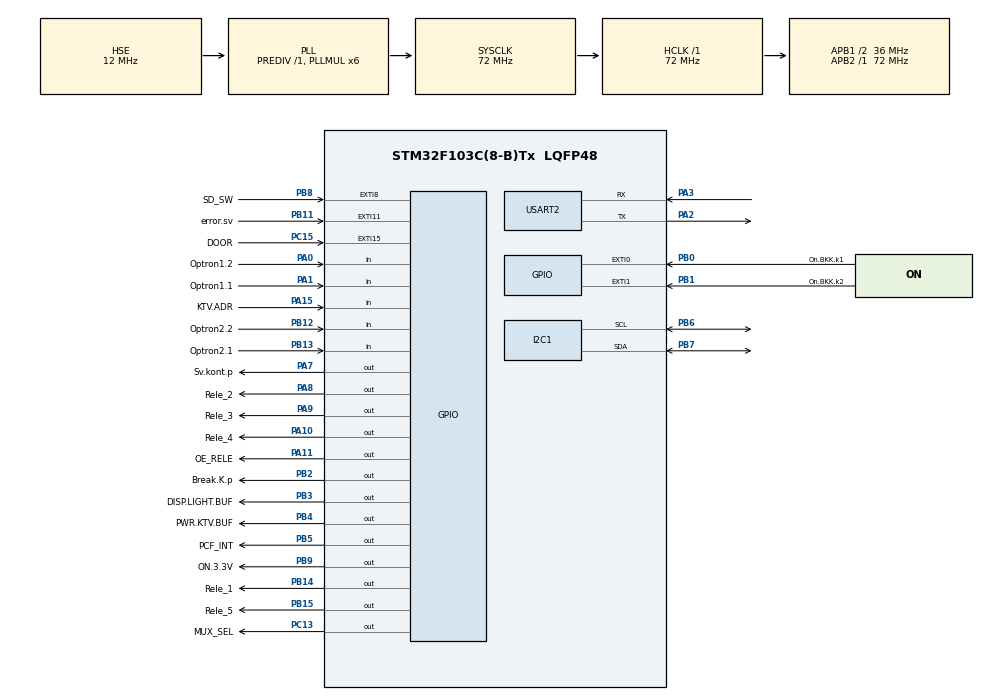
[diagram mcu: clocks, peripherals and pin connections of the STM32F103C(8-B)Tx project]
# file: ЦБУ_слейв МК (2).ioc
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Mcu.Family=STM32F1
Mcu.Name=STM32F103C(8-B)Tx
Mcu.Package=LQFP48
NVIC.EXTI0_IRQn=true\:0\:0\:false\:false\:true\:true\:true\:true
NVIC.EXTI15_10_IRQn=true\:0\:0\:false\:false\:true\:true\:true\:true
NVIC.EXTI1_IRQn=true\:0\:0\:false\:false\:true\:true\:true\:true
NVIC.EXTI9_5_IRQn=true\:0\:0\:false\:false\:true\:true\:true\:true
NVIC.I2C1_ER_IRQn=true\:0\:0\:false\:false\:true\:true\:true\:true
NVIC.I2C1_EV_IRQn=true\:0\:0\:false\:false\:true\:true\:true\:true
NVIC.PriorityGroup=NVIC_PRIORITYGROUP_4
NVIC.TIM1_UP_IRQn=true\:0\:0\:false\:false\:true\:true\:true\:true
NVIC.TIM2_IRQn=true\:0\:0\:false\:false\:true\:true\:true\:true
NVIC.USART2_IRQn=true\:0\:0\:false\:false\:true\:true\:true\:true
PA0-WKUP.GPIO_Label=Optron1.2
PA0-WKUP.GPIO_PuPd=GPIO_NOPULL
PA0-WKUP.Signal=GPIO_Input
PA1.GPIO_Label=Optron1.1
PA1.GPIO_PuPd=GPIO_NOPULL
PA1.Signal=GPIO_Input
PA10.GPIO_Label=Rele_4
PA10.GPIO_PuPd=GPIO_PULLDOWN
PA10.PinState=GPIO_PIN_SET
PA10.Signal=GPIO_Output
PA11.GPIO_Label=OE_RELE
PA11.GPIO_PuPd=GPIO_PULLUP
PA11.Signal=GPIO_Output
PA13.Mode=Serial_Wire
PA13.Signal=SYS_JTMS-SWDIO
PA14.Mode=Serial_Wire
PA14.Signal=SYS_JTCK-SWCLK
PA15.GPIO_Label=KTV.ADR
PA15.GPIO_PuPd=GPIO_NOPULL
PA15.Signal=GPIO_Input
PA2.Mode=Asynchronous
PA2.Signal=USART2_TX
PA3.Mode=Asynchronous
PA3.Signal=USART2_RX
PA7.GPIO_Label=Sv.kont.p
PA7.GPIO_PuPd=GPIO_PULLUP
PA7.Signal=GPIO_Output
PA8.GPIO_Label=Rele_2
PA8.GPIO_PuPd=GPIO_PULLDOWN
PA8.PinState=GPIO_PIN_SET
PA8.Signal=GPIO_Output
PA9.GPIO_Label=Rele_3
PA9.GPIO_PuPd=GPIO_PULLDOWN
PA9.PinState=GPIO_PIN_SET
PA9.Signal=GPIO_Output
PB0.GPIO_Label=On.BKK.k1
PB0.GPIO_ModeDefaultEXTI=GPIO_MODE_IT_RISING_FALLING
PB0.GPIO_PuPd=GPIO_NOPULL
PB0.Signal=GPXTI0
PB1.GPIO_Label=On.BKK.k2
PB1.GPIO_ModeDefaultEXTI=GPIO_MODE_IT_RISING_FALLING
PB1.GPIO_PuPd=GPIO_NOPULL
PB1.Signal=GPXTI1
PB11.GPIO_Label=error.sv
PB11.GPIO_ModeDefaultEXTI=GPIO_MODE_IT_RISING_FALLING
PB11.GPIO_PuPd=GPIO_NOPULL
PB11.Signal=GPXTI11
PB12.GPIO_Label=Optron2.2
PB12.GPIO_PuPd=GPIO_NOPULL
PB12.Signal=GPIO_Input
PB13.GPIO_Label=Optron2.1
PB13.GPIO_PuPd=GPIO_NOPULL
PB13.Signal=GPIO_Input
PB14.GPIO_Label=Rele_1
PB14.GPIO_PuPd=GPIO_PULLDOWN
PB14.PinState=GPIO_PIN_SET
PB14.Signal=GPIO_Output
PB15.GPIO_Label=Rele_5
PB15.GPIO_PuPd=GPIO_PULLDOWN
PB15.PinState=GPIO_PIN_SET
PB15.Signal=GPIO_Output
PB2.GPIO_Label=Break.K.p
PB2.GPIO_PuPd=GPIO_PULLUP
PB2.Signal=GPIO_Output
PB3.GPIO_Label=DISP.LIGHT.BUF
PB3.GPIO_PuPd=GPIO_PULLDOWN
PB3.PinState=GPIO_PIN_SET
PB3.Signal=GPIO_Output
PB4.GPIO_Label=PWR.KTV.BUF
PB4.GPIO_PuPd=GPIO_PULLDOWN
PB4.PinState=GPIO_PIN_SET
PB4.Signal=GPIO_Output
PB5.GPIO_Label=PCF_INT
PB5.Signal=GPIO_Output
PB6.Mode=I2C
PB6.Signal=I2C1_SCL
PB7.Mode=I2C
PB7.Signal=I2C1_SDA
PB8.GPIO_Label=SD_SW
PB8.GPIO_ModeDefaultEXTI=GPIO_MODE_IT_RISING_FALLING
PB8.Signal=GPXTI8
PB9.GPIO_Label=ON.3.3V
PB9.GPIO_PuPd=GPIO_PULLDOWN
PB9.PinState=GPIO_PIN_SET
PB9.Signal=GPIO_Output
PC13-TAMPER-RTC.GPIO_Label=MUX_SEL
PC13-TAMPER-RTC.GPIO_PuPd=GPIO_NOPULL
PC13-TAMPER-RTC.Signal=GPIO_Output
PC15-OSC32_OUT.GPIO_Label=DOOR
PC15-OSC32_OUT.GPIO_ModeDefaultEXTI=GPIO_MODE_IT_RISING_FALLING
PC15-OSC32_OUT.GPIO_PuPd=GPIO_NOPULL
PC15-OSC32_OUT.Signal=GPXTI15
PD0-OSC_IN.Mode=HSE-External-Oscillator
PD0-OSC_IN.Signal=RCC_OSC_IN
PD1-OSC_OUT.Mode=HSE-External-Oscillator
PD1-OSC_OUT.Signal=RCC_OSC_OUT
ProjectManager.HeapSize=0x200
ProjectManager.StackSize=0x400
ProjectManager.TargetToolchain=EWARM V8.32
RCC.AHBFreq_Value=72000000
RCC.APB1CLKDivider=RCC_HCLK_DIV2
RCC.APB1Freq_Value=36000000
RCC.APB1TimFreq_Value=72000000
RCC.APB2Freq_Value=72000000
RCC.APB2TimFreq_Value=72000000
RCC.HCLKFreq_Value=72000000
RCC.HSE_VALUE=12000000
RCC.PLLMUL=RCC_PLL_MUL6
RCC.PLLSourceVirtual=RCC_PLLSOURCE_HSE
RCC.SYSCLKFreq_VALUE=72000000
RCC.SYSCLKSource=RCC_SYSCLKSOURCE_PLLCLK
RCC.USBFreq_Value=72000000
TIM1.Period=999
TIM1.Prescaler=71
TIM2.Period=19
TIM2.Prescaler=7199
USART2.VirtualMode=VM_ASYNC
VP_TIM1_VS_ClockSourceINT.Mode=Internal
VP_TIM2_VS_ClockSourceINT.Mode=Internal
board=custom

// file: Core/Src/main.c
/* USER CODE BEGIN Header */
/**
  ******************************************************************************
  * @file           : main.c
  * @brief          : Main program body
  ******************************************************************************
  * @attention
  *
  * Copyright (c) 2026 STMicroelectronics.
  * All rights reserved.
  *
  * This software is licensed under terms that can be found in the LICENSE file
  * in the root directory of this software component.
  * If no LICENSE file comes with this software, it is provided AS-IS.
  *
  ******************************************************************************
  */
/* USER CODE END Header */
#include "main.h"

/* USER CODE BEGIN Includes */
#include "ktv.h"
#include "mbcrc.h"
#include <string.h>

/* USER CODE END Includes */

/* USER CODE BEGIN PD */
//#define I2C_EXPANDER16_ADDR 0x21U /* Адрес 16-портового расширителя (A0=1, A1=0, A2=0) */
//#define I2C_EXPANDER8_ADDR  0x20U /* Адрес 8-портового расширителя (A0=0, A1=0, A2=0) */

#define I2C_EXPANDER16_ADDR (0x21U << 1) /* Адрес 16-портового расширителя (A0=1, A1=0, A2=0) */
#define I2C_EXPANDER8_ADDR  (0x20U << 1)  /* Адрес 8-портового расширителя (A0=0, A1=0, A2=0) */

#define I2C_EXPANDER16_RX_SIZE 2U /* Два байта: p0..p7 и p8..p15 */
#define I2C_EXPANDER8_RX_SIZE  1U /* Один байт: p0..p7 */

extern const uint32_t __vector_table;   // в IAR/CMSIS часто так называется

/* USER CODE END PD */

I2C_HandleTypeDef hi2c1;

TIM_HandleTypeDef htim1;
TIM_HandleTypeDef htim2;

UART_HandleTypeDef huart2;

/* USER CODE BEGIN PV */

void VectorRelocateToAppFlash(void)
{
    __disable_irq();
    __DSB(); __ISB();
    SCB->VTOR = (uint32_t)&__vector_table;   // будет 0x08002000 по твоему ICF
    __DSB(); __ISB();
    __enable_irq();
}

typedef struct
{
  GPIO_TypeDef *port;
  uint16_t pin;
} ExpanderPinMap;

static const ExpanderPinMap expander16_map[16] =
{
  {OE_RELE_GPIO_Port, OE_RELE_Pin},             /* p0 = OE_RELE */
  {Rele_5_GPIO_Port, Rele_5_Pin},               /* p1 = RELE_5 */
  {PWR_KTV_BUF_GPIO_Port, PWR_KTV_BUF_Pin},     /* p2 = PWR_KTV */
  {NULL, 0U},                                   /* p3 = не используется */
  {NULL, 0U},                                   /* p4 = не используется */
  {Rele_4_GPIO_Port, Rele_4_Pin},               /* p5 = RELE_4 */
  {NULL, 0U},                                   /* p6 = не используется */
  {Rele_3_GPIO_Port, Rele_3_Pin},               /* p7 = RELE_3 */
  {NULL, 0U},                                   /* p8 = не используется */
  {SD_SW_GPIO_Port, SD_SW_Pin},                 /* p9 = SD_SW */
  {NULL, 0U},                                   /* p10 = не используется */
  {Rele_1_GPIO_Port, Rele_1_Pin},               /* p11 = RELE_1 */
  {NULL, 0U},                                   /* p12 = не используется */
  {Rele_2_GPIO_Port, Rele_2_Pin},               /* p13 = RELE_2 */
  {DISP_LIGHT_BUF_GPIO_Port, DISP_LIGHT_BUF_Pin}, /* p14 = DISP_LIGHT_EN */
  {NULL, 0U}                                    /* p15 = не используется */
};

static const ExpanderPinMap expander8_map[8] =
{
  {NULL, 0U},                                   /* p0 = не используется */
  {NULL, 0U},                                   /* p1 = не используется */
  {NULL, 0U},                                   /* p2 = не используется */
  {NULL, 0U},                                   /* p3 = не используется */
  {MUX_SEL_GPIO_Port, MUX_SEL_Pin},             /* p4 = MUX_SEL */
  {NULL, 0U},                                   /* p5 = не используется */
  {NULL, 0U},                                   /* p6 = не используется */
  {NULL, 0U}                                    /* p7 = не используется */
};

static uint8_t i2c_rx_buffer[I2C_EXPANDER16_RX_SIZE];
static uint8_t i2c_tx_buffer[I2C_EXPANDER16_RX_SIZE];
static uint16_t expander16_state = 0U;
static uint8_t expander8_state = 0U;
static uint8_t active_i2c_address = 0U;
static const uint16_t expander16_input_mask = (1U << 9); /* p9 = SD_SW (input) */
static GPIO_PinState sd_sw_last_state = GPIO_PIN_RESET;
static GPIO_PinState sd_sw_return_state = GPIO_PIN_RESET;
static GPIO_PinState pwr_ktv_last_state = GPIO_PIN_SET;
static uint8_t pcf_int_latched = 0U;
volatile GPIO_PinState door = GPIO_PIN_RESET;
volatile GPIO_PinState error_sv = GPIO_PIN_RESET;
volatile GPIO_PinState on_bkk_k1 = GPIO_PIN_RESET;
volatile GPIO_PinState on_bkk_k2 = GPIO_PIN_RESET;
volatile uint8_t direction1 = 0U;
volatile uint8_t direction2 = 0U;
volatile uint8_t bkk_k1_poll_required = 0U;
volatile uint8_t bkk_k2_poll_required = 0U;
volatile uint8_t modbus_cfg1 = 0U;
volatile uint8_t modbus_cfg2 = 0U;
volatile uint8_t modbus_cfg3 = 0U;
volatile uint8_t modbus_cfg4 = 0U;
volatile uint8_t modbus_cfg5 = 0U;
volatile uint8_t modbus_cfg6 = 0U;
volatile uint8_t modbus_cfg7 = 0U;
volatile uint8_t modbus_cfg8 = 0U;
volatile uint8_t modbus_exec_config = 0U;
volatile uint8_t modbus_on_3v3 = 0U;
volatile uint8_t modbus_break_k_p = 0U;
volatile uint8_t modbus_sv_kont_p = 0U;
volatile uint16_t modbus_write_register = 0U;

static inline void EXTI_DisableLine(uint16_t pinmask);
static inline void EXTI_EnableLine(uint16_t pinmask);
/* USER CODE END PV */

void SystemClock_Config(void);
static void MX_GPIO_Init(void);
static void MX_I2C1_Init(void);
static void MX_USART2_UART_Init(void);
static void MX_TIM2_Init(void);
static void MX_TIM1_Init(void);
/* USER CODE BEGIN PFP */

void OS_update(void);
void VectorRelocateToAppFlash(void);

/* USER CODE END PFP */

/* USER CODE BEGIN 0 */
static uint8_t active_rx_size = 0U;
static volatile uint32_t tim2_tick_count = 0U;
static uint8_t on_3v3_enabled = 0U;

#define MODBUS_SLAVE_ADDRESS 1U
#define MODBUS_MAX_REGISTERS (KTV_NUM_MAX + 1U)
#define MODBUS_RX_BUFFER_SIZE 30U
#define MODBUS_TX_BUFFER_SIZE 256U
#define MODBUS_FUNC_READ_HOLDING_REGISTERS 0x03U
#define MODBUS_FUNC_WRITE_SINGLE_REGISTER 0x06U
#define MODBUS_FUNC_UPDATE                0x2Bu
#define MODBUS_EXCEPTION_ILLEGAL_FUNCTION 0x01U
#define MODBUS_EXCEPTION_ILLEGAL_DATA_ADDRESS 0x02U
#define MODBUS_EXCEPTION_ILLEGAL_DATA_VALUE 0x03U

static uint8_t modbus_rx_buffer[MODBUS_RX_BUFFER_SIZE];
static uint8_t modbus_rx_frame[MODBUS_RX_BUFFER_SIZE];
static uint8_t modbus_tx_buffer[MODBUS_TX_BUFFER_SIZE];
static volatile uint16_t modbus_rx_frame_len = 0U;
static volatile uint8_t modbus_rx_ready = 0U;
static volatile uint8_t modbus_last_error = 0U;

#define FLASH_CFG_EMPTY_VALUE   0xFFFFU

#pragma location = ".flash_cfg"
__root const uint16_t flash_cfg_storage = FLASH_CFG_EMPTY_VALUE;

#define ON_3V3_ENABLE_DELAY_MS (10000U)
#define ON_3V3_ENABLE_DELAY_TICKS (ON_3V3_ENABLE_DELAY_MS / KTV_TICK_IN_MSEC)

/* Буфер/анализ оптронов: выбор 250 мс окна при частоте 1 кГц. */
#define OPTRON_SAMPLE_RATE_HZ 1000U
#define OPTRON_FRAME_MS 250U
#define OPTRON_EVAL_PERIOD_MS 1000U
#define OPTRON_FRAME_SAMPLES ((OPTRON_SAMPLE_RATE_HZ * OPTRON_FRAME_MS) / 1000U)
#define OPTRON_EVAL_TICKS ((OPTRON_SAMPLE_RATE_HZ * OPTRON_EVAL_PERIOD_MS) / 1000U)
#define OPTRON_NOISE_MIN_PERCENT 40U
#define OPTRON_NOISE_MAX_PERCENT 60U

typedef enum
{
  OPTRON_STATE_LOW = 0U,
  OPTRON_STATE_HIGH = 1U,
  OPTRON_STATE_NOISE = 2U
} OptronState;

/* Биты в выборке для четырёх оптронов. */
#define OPTRON_SAMPLE_1_1 (1U << 0)
#define OPTRON_SAMPLE_1_2 (1U << 1)
#define OPTRON_SAMPLE_2_1 (1U << 2)
#define OPTRON_SAMPLE_2_2 (1U << 3)

static volatile uint8_t optron_samples[OPTRON_FRAME_SAMPLES];
static volatile uint16_t optron_sample_index = 0U;
static volatile uint16_t optron_cycle_tick = 0U;
static volatile uint8_t optron_eval_pending = 0U;

/* Текущее состояние входов оптронов после фильтрации. */
volatile OptronState optron1_1_state = OPTRON_STATE_LOW;
volatile OptronState optron1_2_state = OPTRON_STATE_LOW;
volatile OptronState optron2_1_state = OPTRON_STATE_LOW;
volatile OptronState optron2_2_state = OPTRON_STATE_LOW;

volatile uint8_t kontur1_kz = 0U;
volatile uint8_t kontur1_diod = 0U;
volatile uint8_t kontur1_obryv = 0U;
volatile uint8_t kontur2_kz = 0U;
volatile uint8_t kontur2_diod = 0U;
volatile uint8_t kontur2_obryv = 0U;

volatile uint8_t KTV_poll_start = 0;
static uint8_t tim2_running = 0U;

/* Управление запуском/остановкой таймера опроса КТВ по флагу KTV_poll_start. */
static void UpdateKtvTimerState(void)
{
  if ((KTV_poll_start != 0U) && (tim2_running == 0U))
  {
    HAL_TIM_Base_Start_IT(&htim2);
    tim2_running = 1U;
  }
  else if ((KTV_poll_start == 0U) && (tim2_running != 0U))
  {
    HAL_TIM_Base_Stop_IT(&htim2);
    tim2_running = 0U;
  }
}

/* Чтение сохранённого конфигурационного слова из флеша. */
static uint16_t FlashConfig_Read(void)
{
  return *(const volatile uint16_t *)(APP_FLASH_CFG_START);
}

/* Обработка окна выборки оптронов и вычисление состояний контуров. */
static void Optron_ProcessFrame(void)
{
  uint8_t frame_copy[OPTRON_FRAME_SAMPLES];
  uint16_t ones_1_1 = 0U;
  uint16_t ones_1_2 = 0U;
  uint16_t ones_2_1 = 0U;
  uint16_t ones_2_2 = 0U;

  if (optron_eval_pending == 0U)
  {
    return;
  }

  /* отключаем TIM1. */
  __HAL_TIM_DISABLE_IT(&htim1, TIM_IT_UPDATE);
  /* Копируем буфер под защитой, чтобы не пересекаться с ISR. */
  for (uint16_t i = 0U; i < OPTRON_FRAME_SAMPLES; i++)
  {
    frame_copy[i] = optron_samples[i];
  }
  optron_eval_pending = 0U;
  __HAL_TIM_ENABLE_IT(&htim1, TIM_IT_UPDATE);

  /* Подсчёт количества единиц по каждому входу оптронов. */
  for (uint16_t i = 0U; i < OPTRON_FRAME_SAMPLES; i++)
  {
    uint8_t sample = frame_copy[i];
    if ((sample & OPTRON_SAMPLE_1_1) != 0U)
    {
      ones_1_1++;
    }
    if ((sample & OPTRON_SAMPLE_1_2) != 0U)
    {
      ones_1_2++;
    }
    if ((sample & OPTRON_SAMPLE_2_1) != 0U)
    {
      ones_2_1++;
    }
    if ((sample & OPTRON_SAMPLE_2_2) != 0U)
    {
      ones_2_2++;
    }
  }

  /* Классификация по заполнению: 40-60% = зашумленный меандр. */
  uint8_t percent_1_1 = (uint8_t)((ones_1_1 * 100U) / OPTRON_FRAME_SAMPLES);
  uint8_t percent_1_2 = (uint8_t)((ones_1_2 * 100U) / OPTRON_FRAME_SAMPLES);
  uint8_t percent_2_1 = (uint8_t)((ones_2_1 * 100U) / OPTRON_FRAME_SAMPLES);
  uint8_t percent_2_2 = (uint8_t)((ones_2_2 * 100U) / OPTRON_FRAME_SAMPLES);

  /* Преобразование процента заполнения в состояние (low/high/noise). */
  optron1_1_state = (percent_1_1 < OPTRON_NOISE_MIN_PERCENT) ? OPTRON_STATE_LOW :
                    (percent_1_1 > OPTRON_NOISE_MAX_PERCENT) ? OPTRON_STATE_HIGH :
                    OPTRON_STATE_NOISE;
  optron1_2_state = (percent_1_2 < OPTRON_NOISE_MIN_PERCENT) ? OPTRON_STATE_LOW :
                    (percent_1_2 > OPTRON_NOISE_MAX_PERCENT) ? OPTRON_STATE_HIGH :
                    OPTRON_STATE_NOISE;
  optron2_1_state = (percent_2_1 < OPTRON_NOISE_MIN_PERCENT) ? OPTRON_STATE_LOW :
                    (percent_2_1 > OPTRON_NOISE_MAX_PERCENT) ? OPTRON_STATE_HIGH :
                    OPTRON_STATE_NOISE;
  optron2_2_state = (percent_2_2 < OPTRON_NOISE_MIN_PERCENT) ? OPTRON_STATE_LOW :
                    (percent_2_2 > OPTRON_NOISE_MAX_PERCENT) ? OPTRON_STATE_HIGH :
                    OPTRON_STATE_NOISE;

  /* Таблица соответствий для контура 1 (диагностика). */
  uint8_t optron1_1_meander = (optron1_1_state == OPTRON_STATE_NOISE) ? 1U : 0U;
  uint8_t optron1_2_meander = (optron1_2_state == OPTRON_STATE_NOISE) ? 1U : 0U;
  uint8_t optron1_1_high = (optron1_1_state == OPTRON_STATE_HIGH) ? 1U : 0U;
  uint8_t optron1_2_high = (optron1_2_state == OPTRON_STATE_HIGH) ? 1U : 0U;
  uint8_t bkk_k1_high = (on_bkk_k1 == GPIO_PIN_SET) ? 1U : 0U;

  kontur1_kz = 0U;
  kontur1_diod = 0U;
  kontur1_obryv = 0U;

  if (bkk_k1_high == 1U)
  {
    if ((optron1_1_meander == 1U) && (optron1_2_meander == 1U))
    {
      kontur1_kz = 1U;
    }
    else if ((optron1_1_high == 1U) && (optron1_2_high == 1U))
    {
      kontur1_obryv = 1U;
    }
  }
  else
  {
    if (((optron1_1_meander == 1U) && (optron1_2_high == 1U)) ||
        ((optron1_1_high == 1U) && (optron1_2_meander == 1U)))
    {
      kontur1_diod = 1U;
    }
  }

  /* Таблица соответствий для контура 2 (диагностика). */
  uint8_t optron2_1_meander = (optron2_1_state == OPTRON_STATE_NOISE) ? 1U : 0U;
  uint8_t optron2_2_meander = (optron2_2_state == OPTRON_STATE_NOISE) ? 1U : 0U;
  uint8_t optron2_1_high = (optron2_1_state == OPTRON_STATE_HIGH) ? 1U : 0U;
  uint8_t optron2_2_high = (optron2_2_state == OPTRON_STATE_HIGH) ? 1U : 0U;
  uint8_t bkk_k2_high = (on_bkk_k2 == GPIO_PIN_SET) ? 1U : 0U;

  kontur2_kz = 0U;
  kontur2_diod = 0U;
  kontur2_obryv = 0U;

  if (bkk_k2_high == 1U)
  {
    if ((optron2_1_meander == 1U) && (optron2_2_meander == 1U))
    {
      kontur2_kz = 1U;
    }
    else if ((optron2_1_high == 1U) && (optron2_2_high == 1U))
    {
      kontur2_obryv = 1U;
    }
  }
  else
  {
    if (((optron2_1_meander == 1U) && (optron2_2_high == 1U)) ||
        ((optron2_1_high == 1U) && (optron2_2_meander == 1U)))
    {
      kontur2_diod = 1U;
    }
  }

}

/* Запись состояния в GPIO по карте экспандера. */
static void Expander_WritePin(const ExpanderPinMap *map, uint8_t index, GPIO_PinState state)
{
  if (map[index].port != NULL)
  {
    if ((map[index].port == PWR_KTV_BUF_GPIO_Port) &&
        (map[index].pin == PWR_KTV_BUF_Pin))
    {
      if ((pwr_ktv_last_state == GPIO_PIN_RESET) && (state == GPIO_PIN_SET))
      {
        KTV_poll_start = 1U;
      }
      pwr_ktv_last_state = state;
    }
    HAL_GPIO_WritePin(map[index].port, map[index].pin, state);
  }
}

/* Применение 16-битного состояния PCF8575 с учётом входных пинов. */
static void ApplyExpander16State(uint16_t value)  //------------------------------16--
{
  uint8_t oe_enabled = (value & 0x0001U) ? 1U : 0U;
  uint16_t masked_value = value;

  /* Остальные пины могут быть в 1 только при OE_RELE=0 */
  if (oe_enabled == 1U)
  {
    masked_value &= 0x0001U;
  }
  masked_value &= (uint16_t)(~expander16_input_mask);

  /* Маппинг битов состояния в физические GPIO. */
  for (uint8_t i = 0U; i < 16U; i++)
  {
    if ((expander16_input_mask & (1U << i)) == 0U)
    {
      GPIO_PinState state = (masked_value & (1U << i)) ? GPIO_PIN_SET : GPIO_PIN_RESET;
      Expander_WritePin(expander16_map, i, state);
    }
  }

  expander16_state = masked_value;
}

/* Применение 8-битного состояния PCF8574 на GPIO. */
static void ApplyExpander8State(uint8_t value)  //--------------------------------8--
{
  for (uint8_t i = 0U; i < 8U; i++)
  {
    GPIO_PinState state = (value & (1U << i)) ? GPIO_PIN_SET : GPIO_PIN_RESET;
    Expander_WritePin(expander8_map, i, state);
  }

  expander8_state = value;
}

/* Подготовка ответного буфера I2C для выбранного экспандера. */
static void PrepareExpanderTx(uint8_t address)
{
  if (address == I2C_EXPANDER16_ADDR)
  {
    uint16_t input_value = 0U;

    if ((expander16_input_mask & (1U << 9)) != 0U)
    {
      input_value |= (HAL_GPIO_ReadPin(SD_SW_GPIO_Port, SD_SW_Pin) == GPIO_PIN_SET) ? (1U << 9) : 0U;
    }

    expander16_state = (expander16_state & ~expander16_input_mask) | (input_value & expander16_input_mask);
    //expander16_state = 0xF0F0;
    i2c_tx_buffer[0] = (uint8_t)(expander16_state & 0x00FFU);
    i2c_tx_buffer[1] = (uint8_t)((expander16_state >> 8) & 0x00FFU);
  }
  else if (address == I2C_EXPANDER8_ADDR)
  {
    i2c_tx_buffer[0] = expander8_state;
  }
}

/* Установка уровня на линии PCF_INT (open-drain). */
static void SetPcfIntLevel(GPIO_PinState level)
{
  /* PCF_INT работает как open-drain: лог.1 = отпущен, лог.0 = тянем к земле. */
  HAL_GPIO_WritePin(PCF_INT_GPIO_Port, PCF_INT_Pin, level);
}

/* Сброс защёлки прерывания PCF при обслуживании события. */
static void ClearPcfIntLatch(void)
{
  if (pcf_int_latched != 0U)
  {
    pcf_int_latched = 0U;
    SetPcfIntLevel(GPIO_PIN_SET);
  }
}

/* Переключение направления пинов БКК между выходом и входом с EXTI. */
void UpdateBkkDirections(void)
{
  GPIO_InitTypeDef GPIO_InitStruct = {0};

  if (direction1 == 1U)
  {
    GPIO_InitStruct.Pin = On_BKK_k1_Pin;
    GPIO_InitStruct.Mode = GPIO_MODE_OUTPUT_PP;
    GPIO_InitStruct.Pull = GPIO_NOPULL;
    GPIO_InitStruct.Speed = GPIO_SPEED_FREQ_LOW;
    EXTI_DisableLine(On_BKK_k1_Pin);
    HAL_GPIO_Init(On_BKK_k1_GPIO_Port, &GPIO_InitStruct);
    bkk_k1_poll_required = 0U;

  }
  else
  {
    GPIO_InitStruct.Pin = On_BKK_k1_Pin;
    GPIO_InitStruct.Mode = GPIO_MODE_IT_RISING_FALLING;
    GPIO_InitStruct.Pull = GPIO_NOPULL;
    HAL_GPIO_Init(On_BKK_k1_GPIO_Port, &GPIO_InitStruct);
    bkk_k1_poll_required = 1U;
    EXTI_EnableLine(On_BKK_k1_Pin);
  }

  if (direction2 == 1U)
  {
    GPIO_InitStruct.Pin = On_BKK_k2_Pin;
    GPIO_InitStruct.Mode = GPIO_MODE_OUTPUT_PP;
    GPIO_InitStruct.Pull = GPIO_NOPULL;
    GPIO_InitStruct.Speed = GPIO_SPEED_FREQ_LOW;
    EXTI_DisableLine(On_BKK_k2_Pin);
    HAL_GPIO_Init(On_BKK_k2_GPIO_Port, &GPIO_InitStruct);
    bkk_k2_poll_required = 0U;

  }
  else
  {
    GPIO_InitStruct.Pin = On_BKK_k2_Pin;
    GPIO_InitStruct.Mode = GPIO_MODE_IT_RISING_FALLING;
    GPIO_InitStruct.Pull = GPIO_NOPULL;
    HAL_GPIO_Init(On_BKK_k2_GPIO_Port, &GPIO_InitStruct);
    bkk_k2_poll_required = 1U;
    EXTI_EnableLine(On_BKK_k2_Pin);
  }
}

/* Формирование read-регистра Modbus из текущих диагностических флагов. */
uint16_t Modbus_BuildReadRegister(void)
{
  uint16_t value = 0U;

  if (kontur1_kz != 0U)
  {
    value |= (uint16_t)(1U << MODBUS_READ_BIT_KONTUR1_KZ);
  }
  if (kontur1_diod != 0U)
  {
    value |= (uint16_t)(1U << MODBUS_READ_BIT_KONTUR1_DIOD);
  }
  if (kontur2_kz != 0U)
  {
    value |= (uint16_t)(1U << MODBUS_READ_BIT_KONTUR2_KZ);
  }
  if (kontur2_diod != 0U)
  {
    value |= (uint16_t)(1U << MODBUS_READ_BIT_KONTUR2_DIOD);
  }
  if (kontur1_obryv != 0U)
  {
    value |= (uint16_t)(1U << MODBUS_READ_BIT_KONTUR1_OBRYV);
  }
  if (kontur2_obryv != 0U)
  {
    value |= (uint16_t)(1U << MODBUS_READ_BIT_KONTUR2_OBRYV);
  }
  if (door == GPIO_PIN_SET)
  {
    value |= (uint16_t)(1U << MODBUS_READ_BIT_DOOR);
  }
  if (error_sv == GPIO_PIN_SET)
  {
    value |= (uint16_t)(1U << MODBUS_READ_BIT_ERROR);
  }
  if (on_bkk_k1 == GPIO_PIN_SET)
  {
    value |= (uint16_t)(1U << MODBUS_READ_BIT_ON_BKK_K1);
  }
  if (on_bkk_k2 == GPIO_PIN_SET)
  {
    value |= (uint16_t)(1U << MODBUS_READ_BIT_ON_BKK_K2);
  }

  return value;
}

/* Применение выбранной предустановки конфигурации Modbus. */
void Modbus_ApplyConfig(void)
{
  uint8_t sv_kont_p = 0U;
  uint8_t break_k_p = 0U;
  uint8_t apply_pins = 1U;

  if (modbus_cfg1)
  {
    sv_kont_p = 0U;
    break_k_p = 0U;
  }
  else if (modbus_cfg2)
  {
    sv_kont_p = 0U;
    break_k_p = 1U;
  }
  else if (modbus_cfg3)
  {
    sv_kont_p = 1U;
    break_k_p = 0U;
  }
  else if (modbus_cfg4)
  {
    sv_kont_p = 1U;
    break_k_p = 0U;
  }
  else if (modbus_cfg5)
  {
    sv_kont_p = 0U;
    break_k_p = 1U;
  }
  else
  {
    apply_pins = 0U;
  }

  if (apply_pins)
  {
    HAL_GPIO_WritePin(Break_K_p_GPIO_Port, Break_K_p_Pin,
                      (break_k_p != 0U) ? GPIO_PIN_SET : GPIO_PIN_RESET);
    HAL_GPIO_WritePin(Sv_kont_p_GPIO_Port, Sv_kont_p_Pin,
                      (sv_kont_p != 0U) ? GPIO_PIN_SET : GPIO_PIN_RESET);
  }
}

/* Применение ручных значений пинов управления из Modbus-регистра. */
void Modbus_ApplyManualPins(void)
{
  HAL_GPIO_WritePin(Break_K_p_GPIO_Port, Break_K_p_Pin,
                    (modbus_break_k_p != 0U) ? GPIO_PIN_SET : GPIO_PIN_RESET);
  HAL_GPIO_WritePin(Sv_kont_p_GPIO_Port, Sv_kont_p_Pin,
                    (modbus_sv_kont_p != 0U) ? GPIO_PIN_SET : GPIO_PIN_RESET);
}

/* Разбор и применение записанного регистра конфигурации Modbus. */
void Modbus_ApplyWriteRegister(uint16_t value) //CONFIGS
{
  uint8_t cfg_count = 0U;

  modbus_write_register = value;

  modbus_cfg8 = (uint8_t)((value >> MODBUS_WRITE_BIT_CFG8) & 0x1U);
  modbus_cfg7 = (uint8_t)((value >> MODBUS_WRITE_BIT_CFG7) & 0x1U);
  modbus_cfg6 = (uint8_t)((value >> MODBUS_WRITE_BIT_CFG6) & 0x1U);
  modbus_cfg5 = (uint8_t)((value >> MODBUS_WRITE_BIT_CFG5) & 0x1U);
  modbus_cfg4 = (uint8_t)((value >> MODBUS_WRITE_BIT_CFG4) & 0x1U);
  modbus_cfg3 = (uint8_t)((value >> MODBUS_WRITE_BIT_CFG3) & 0x1U);
  modbus_cfg2 = (uint8_t)((value >> MODBUS_WRITE_BIT_CFG2) & 0x1U);
  modbus_cfg1 = (uint8_t)((value >> MODBUS_WRITE_BIT_CFG1) & 0x1U);

  cfg_count = (uint8_t)(modbus_cfg1 + modbus_cfg2 + modbus_cfg3 + modbus_cfg4 +
                        modbus_cfg5 + modbus_cfg6 + modbus_cfg7 + modbus_cfg8);
  if (cfg_count > 1U)
  {
    modbus_cfg1 = 0U;
    modbus_cfg2 = 0U;
    modbus_cfg3 = 0U;
    modbus_cfg4 = 0U;
    modbus_cfg5 = 0U;
    modbus_cfg6 = 0U;
    modbus_cfg7 = 0U;
    modbus_cfg8 = 0U;    //запрещаем включить более 1й предустановки
  }

  modbus_exec_config = (uint8_t)((value >> MODBUS_WRITE_BIT_EXEC_CONFIG) & 0x1U);
  modbus_on_3v3 = (uint8_t)((value >> MODBUS_WRITE_BIT_ON_3V3) & 0x1U);
  modbus_break_k_p = (uint8_t)((value >> MODBUS_WRITE_BIT_BREAK_K_P) & 0x1U);
  modbus_sv_kont_p = (uint8_t)((value >> MODBUS_WRITE_BIT_SV_KONT_P) & 0x1U);

  if (modbus_exec_config)
  {
    Modbus_ApplyConfig();
  }
  else
  {
    Modbus_ApplyManualPins();
  }

  if (modbus_on_3v3 != 0U)
  {
    on_3v3_enabled = 1U;
    HAL_GPIO_WritePin(ON_3_3V_GPIO_Port, ON_3_3V_Pin, GPIO_PIN_SET);
  }
  else
  {
    on_3v3_enabled = 0U;
    HAL_GPIO_WritePin(ON_3_3V_GPIO_Port, ON_3_3V_Pin, GPIO_PIN_RESET);
  }
}

/* Чтение одного регистра Modbus по адресу. */
uint8_t Modbus_ReadRegister(uint16_t address, uint16_t *value)
{
  if (value == NULL)
  {
    return 0U;
  }

  if (address == 0U)
  {
    *value = Modbus_BuildReadRegister();
    return 1U;
  }

  if (address <= KTV_NUM_MAX)
  {
    const KtvResultBuffer *buffer = Ktv_GetResultBuffer();
    uint16_t index = (uint16_t)((address - 1U) * 2U);
    *value = (uint16_t)buffer->items[index] |
             (uint16_t)((uint16_t)buffer->items[index + 1U] << 8);
    return 1U;
  }

  return 0U;
}

/* Запись одного регистра Modbus по адресу. */
uint8_t Modbus_WriteRegister(uint16_t address, uint16_t value)
{
  if (address == 0U)
  {
    Modbus_ApplyWriteRegister(value);
    return 1U;
  }

  return 0U;
}

/* Чтение диапазона регистров Modbus с проверкой границ. */
uint8_t Modbus_ReadRegisters(uint16_t start_address, uint16_t count, uint16_t *dest, uint16_t dest_len)
{
  if ((dest == NULL) || (count == 0U) || (count > dest_len))
  {
    return 0U;
  }

  if ((start_address >= MODBUS_MAX_REGISTERS) ||
      ((start_address + count) > MODBUS_MAX_REGISTERS))
  {
    return 0U;
  }

  for (uint16_t i = 0U; i < count; i++)
  {
    if (Modbus_ReadRegister((uint16_t)(start_address + i), &dest[i]) == 0U)
    {
      return 0U;
    }
  }

  return 1U;
}

/* Фиксация последнего кода ошибки Modbus. */
void Modbus_HandleError(uint8_t error_code)
{
  modbus_last_error = error_code;
}

/* Формирование и отправка Modbus-исключения. */
static void Modbus_SendException(uint8_t address, uint8_t function, uint8_t exception_code)
{
  uint16_t crc = 0U;
  uint16_t length = 0U;

  modbus_tx_buffer[0] = address;
  modbus_tx_buffer[1] = (uint8_t)(function | 0x80U);
  modbus_tx_buffer[2] = exception_code;
  length = 3U;
  crc = mbcrc(modbus_tx_buffer, length);
  modbus_tx_buffer[length] = (uint8_t)(crc >> 8);
  modbus_tx_buffer[length + 1U] = (uint8_t)(crc & 0xFFU);
  length += 2U;
  (void)HAL_UART_Transmit(&huart2, modbus_tx_buffer, length, 100U);
}

/* Разбор и обработка принятого Modbus-фрейма (read/write single). */
void Modbus_ProcessPendingRequest(void)
{
  uint8_t frame[MODBUS_RX_BUFFER_SIZE];
  uint16_t frame_len = 0U;
  uint16_t response_len = 0U;
  uint8_t address = 0U;
  uint8_t function = 0U;
  uint16_t received_crc = 0U;
  uint16_t calc_crc = 0U;
  uint16_t start_address = 0U;
  uint16_t count = 0U;
  uint16_t registers[MODBUS_MAX_REGISTERS];
  uint16_t reg_address = 0U;
  uint16_t reg_value = 0U;
  uint16_t crc = 0U;

  if (modbus_rx_ready == 0U)
  {
    return;
  }

  __disable_irq();
  if (modbus_rx_ready != 0U)
  {
    frame_len = modbus_rx_frame_len;
    if (frame_len > MODBUS_RX_BUFFER_SIZE)
    {
      frame_len = MODBUS_RX_BUFFER_SIZE;
    }
    (void)memcpy(frame, modbus_rx_frame, frame_len);
    modbus_rx_ready = 0U;
  }
  __enable_irq();

  /* Минимальная длина фрейма: адрес + функция + CRC. */
  if (frame_len < 4U)
  {
    Modbus_HandleError(MODBUS_EXCEPTION_ILLEGAL_DATA_VALUE);
    return;
  }

  address = frame[0];
  if ((address != MODBUS_SLAVE_ADDRESS) && (address != 0U))
  {
    return;
  }

  received_crc = (uint16_t)((uint16_t)frame[frame_len - 2U] << 8) |
                 (uint16_t)frame[frame_len - 1U];
  calc_crc = mbcrc(frame, (int32_t)(frame_len - 2U));
  if (calc_crc != received_crc)
  {
    Modbus_HandleError(MODBUS_EXCEPTION_ILLEGAL_DATA_VALUE);
    return;
  }

  function = frame[1];
  /* Разбор функции: чтение регистров. */
  if (function == MODBUS_FUNC_READ_HOLDING_REGISTERS)
  {
    if (frame_len < 8U)
    {
      Modbus_HandleError(MODBUS_EXCEPTION_ILLEGAL_DATA_VALUE);
      if (address != 0U)
      {
        Modbus_SendException(address, function, MODBUS_EXCEPTION_ILLEGAL_DATA_VALUE);
      }
      return;
    }

    start_address = (uint16_t)((uint16_t)frame[2] << 8) | frame[3];
    count = (uint16_t)((uint16_t)frame[4] << 8) | frame[5];

    if ((count == 0U) || (count > MODBUS_MAX_REGISTERS))
    {
      Modbus_HandleError(MODBUS_EXCEPTION_ILLEGAL_DATA_VALUE);
      if (address != 0U)
      {
        Modbus_SendException(address, function, MODBUS_EXCEPTION_ILLEGAL_DATA_VALUE);
      }
      return;
    }

    if (Modbus_ReadRegisters(start_address, count, registers, MODBUS_MAX_REGISTERS) == 0U)
    {
      Modbus_HandleError(MODBUS_EXCEPTION_ILLEGAL_DATA_ADDRESS);
      if (address != 0U)
      {
        Modbus_SendException(address, function, MODBUS_EXCEPTION_ILLEGAL_DATA_ADDRESS);
      }
      return;
    }

    modbus_tx_buffer[0] = address;
    modbus_tx_buffer[1] = function;
    modbus_tx_buffer[2] = (uint8_t)(count * 2U);
    response_len = 3U;

    for (uint16_t i = 0U; i < count; i++)
    {
      modbus_tx_buffer[response_len++] = (uint8_t)(registers[i] >> 8);
      modbus_tx_buffer[response_len++] = (uint8_t)(registers[i] & 0xFFU);
    }

    crc = mbcrc(modbus_tx_buffer, (int32_t)response_len);
    modbus_tx_buffer[response_len++] = (uint8_t)(crc >> 8);
    modbus_tx_buffer[response_len++] = (uint8_t)(crc & 0xFFU);
    if (address != 0U)
    {
      (void)HAL_UART_Transmit(&huart2, modbus_tx_buffer, response_len, 100U);
    }
    return;
  }

  /* Разбор функции: запись одного регистра. */
  if (function == MODBUS_FUNC_WRITE_SINGLE_REGISTER)
  {
    if (frame_len < 8U)
    {
      Modbus_HandleError(MODBUS_EXCEPTION_ILLEGAL_DATA_VALUE);
      if (address != 0U)
      {
        Modbus_SendException(address, function, MODBUS_EXCEPTION_ILLEGAL_DATA_VALUE);
      }
      return;
    }

    reg_address = (uint16_t)((uint16_t)frame[2] << 8) | frame[3];
    reg_value = (uint16_t)((uint16_t)frame[4] << 8) | frame[5];

    if (Modbus_WriteRegister(reg_address, reg_value) == 0U)
    {
      Modbus_HandleError(MODBUS_EXCEPTION_ILLEGAL_DATA_ADDRESS);
      if (address != 0U)
      {
        Modbus_SendException(address, function, MODBUS_EXCEPTION_ILLEGAL_DATA_ADDRESS);
      }
      return;
    }

    if (address != 0U)
    {
      (void)memcpy(modbus_tx_buffer, frame, 6U);
      response_len = 6U;
      crc = mbcrc(modbus_tx_buffer, (int32_t)response_len);
      modbus_tx_buffer[response_len++] = (uint8_t)(crc >> 8);
      modbus_tx_buffer[response_len++] = (uint8_t)(crc & 0xFFU);
      (void)HAL_UART_Transmit(&huart2, modbus_tx_buffer, response_len, 100U);
    }
    return;
  }

   /* Разбор функции: обновление ПО */
  if (function == MODBUS_FUNC_UPDATE )
  {
    OS_update();
  }

  /* Остальные функции считаем неподдерживаемыми. */
  Modbus_HandleError(MODBUS_EXCEPTION_ILLEGAL_FUNCTION);
  if (address != 0U)
  {
    Modbus_SendException(address, function, MODBUS_EXCEPTION_ILLEGAL_FUNCTION);
  }
}

/* Проверка и восстановление UART в случае ошибок при работе Modbus. */
void Modbus_CheckUartRestart(void)
{
  if (huart2.ErrorCode != HAL_UART_ERROR_NONE)
  {
    Modbus_HandleError((uint8_t)huart2.ErrorCode);
    (void)HAL_UART_Abort(&huart2);
    (void)HAL_UART_DeInit(&huart2);
    MX_USART2_UART_Init();
    huart2.ErrorCode = HAL_UART_ERROR_NONE;
    (void)HAL_UARTEx_ReceiveToIdle_IT(&huart2, modbus_rx_buffer, MODBUS_RX_BUFFER_SIZE);
  }
}

void HAL_UARTEx_RxEventCallback(UART_HandleTypeDef *huart, uint16_t size)
{
  if (huart->Instance != USART2)
  {
    return;
  }

  if ((modbus_rx_ready == 0U) && (size > 0U) && (size <= MODBUS_RX_BUFFER_SIZE))
  {
    (void)memcpy(modbus_rx_frame, modbus_rx_buffer, size);
    modbus_rx_frame_len = size;
    modbus_rx_ready = 1U;
  }

  (void)HAL_UARTEx_ReceiveToIdle_IT(&huart2, modbus_rx_buffer, MODBUS_RX_BUFFER_SIZE);
}

/*
 * OS_update
 * ---------
 * Помечает во флеше необходимость обновления прошивки и инициирует
 * программный перезапуск контроллера.
 */
void OS_update(void)
{
    //  Отправляем Modbus ответ об успешном выполнении функции 0x2B
    uint8_t resp[5] = {0};
    uint16_t crc;
    resp[0] = MODBUS_SLAVE_ADDRESS;       // Slave address
    resp[1] = 0x2B;       // Echo function code
    crc     = mbcrc(resp, 2);
    resp[2] = 0x00;
    resp[3] = (uint8_t)(crc >> 8);
    resp[4] = (uint8_t)(crc & 0xFF);

    // Индикация передачи и само отправление

    HAL_UART_Transmit(&huart2, resp, sizeof(resp), 100);

    //  Помечаем флаг обновления в конце флеша
    HAL_FLASH_Unlock();
    HAL_FLASH_Program(FLASH_TYPEPROGRAM_HALFWORD, (APP_FLASH_CFG_START + 4), 0x1111);
    HAL_FLASH_Lock();

    HAL_DeInit();
    HAL_NVIC_SystemReset();
}

/* USER CODE END 0 */

int main(void)
{

  /* USER CODE BEGIN 1 */
  VectorRelocateToAppFlash();
  /* USER CODE END 1 */

  /* MCU Configuration--------------------------------------------------------*/

  /* Reset of all peripherals, Initializes the Flash interface and the Systick. */
  HAL_Init();

  /* Configure the system clock */
  SystemClock_Config();

  /* Initialize all configured peripherals */
  MX_GPIO_Init();
  MX_I2C1_Init();
  MX_USART2_UART_Init();
  MX_TIM2_Init();
  MX_TIM1_Init();
  /* USER CODE BEGIN 2 */
  HAL_I2C_EnableListen_IT(&hi2c1);
  ApplyExpander16State(0U);
  ApplyExpander8State(0U);
  sd_sw_last_state = HAL_GPIO_ReadPin(SD_SW_GPIO_Port, SD_SW_Pin);
  sd_sw_return_state = sd_sw_last_state;
  pcf_int_latched = 0U;
  SetPcfIntLevel(GPIO_PIN_SET);
  Ktv_Init();
  HAL_TIM_Base_Stop_IT(&htim2);
  HAL_TIM_Base_Start_IT(&htim1);
  (void)HAL_UARTEx_ReceiveToIdle_IT(&huart2, modbus_rx_buffer, MODBUS_RX_BUFFER_SIZE);
  /* USER CODE END 2 */

  /* Infinite loop */
  while (1)
  {

    /* USER CODE BEGIN 3 */

    Optron_ProcessFrame();
    UpdateKtvTimerState();
    Ktv_Process();
    Modbus_CheckUartRestart();
    Modbus_ProcessPendingRequest();
  }
  /* USER CODE END 3 */
}

void SystemClock_Config(void)
{
  RCC_OscInitTypeDef RCC_OscInitStruct = {0};
  RCC_ClkInitTypeDef RCC_ClkInitStruct = {0};

  /** Initializes the RCC Oscillators according to the specified parameters
  * in the RCC_OscInitTypeDef structure.
  */
  RCC_OscInitStruct.OscillatorType = RCC_OSCILLATORTYPE_HSE;
  RCC_OscInitStruct.HSEState = RCC_HSE_ON;
  RCC_OscInitStruct.HSEPredivValue = RCC_HSE_PREDIV_DIV1;
  RCC_OscInitStruct.HSIState = RCC_HSI_ON;
  RCC_OscInitStruct.PLL.PLLState = RCC_PLL_ON;
  RCC_OscInitStruct.PLL.PLLSource = RCC_PLLSOURCE_HSE;
  RCC_OscInitStruct.PLL.PLLMUL = RCC_PLL_MUL6;
  if (HAL_RCC_OscConfig(&RCC_OscInitStruct) != HAL_OK)
  {
    Error_Handler();
  }

  /** Initializes the CPU, AHB and APB buses clocks
  */
  RCC_ClkInitStruct.ClockType = RCC_CLOCKTYPE_HCLK|RCC_CLOCKTYPE_SYSCLK
                              |RCC_CLOCKTYPE_PCLK1|RCC_CLOCKTYPE_PCLK2;
  RCC_ClkInitStruct.SYSCLKSource = RCC_SYSCLKSOURCE_PLLCLK;
  RCC_ClkInitStruct.AHBCLKDivider = RCC_SYSCLK_DIV1;
  RCC_ClkInitStruct.APB1CLKDivider = RCC_HCLK_DIV2;
  RCC_ClkInitStruct.APB2CLKDivider = RCC_HCLK_DIV1;

  if (HAL_RCC_ClockConfig(&RCC_ClkInitStruct, FLASH_LATENCY_2) != HAL_OK)
  {
    Error_Handler();
  }
}

static void MX_I2C1_Init(void)
{

  hi2c1.Instance = I2C1;
  hi2c1.Init.ClockSpeed = 100000;
  hi2c1.Init.DutyCycle = I2C_DUTYCYCLE_2;
  hi2c1.Init.OwnAddress1 = I2C_EXPANDER16_ADDR;
  hi2c1.Init.AddressingMode = I2C_ADDRESSINGMODE_7BIT;
  hi2c1.Init.DualAddressMode = I2C_DUALADDRESS_ENABLE;
  hi2c1.Init.OwnAddress2 = I2C_EXPANDER8_ADDR;
  hi2c1.Init.GeneralCallMode = I2C_GENERALCALL_DISABLE;
  hi2c1.Init.NoStretchMode = I2C_NOSTRETCH_DISABLE;
  if (HAL_I2C_Init(&hi2c1) != HAL_OK)
  {
    Error_Handler();
  }

}

static void MX_TIM1_Init(void)
{

  TIM_ClockConfigTypeDef sClockSourceConfig = {0};
  TIM_MasterConfigTypeDef sMasterConfig = {0};

  htim1.Instance = TIM1;
  htim1.Init.Prescaler = 71;
  htim1.Init.CounterMode = TIM_COUNTERMODE_UP;
  htim1.Init.Period = 999;
  htim1.Init.ClockDivision = TIM_CLOCKDIVISION_DIV1;
  htim1.Init.RepetitionCounter = 0;
  htim1.Init.AutoReloadPreload = TIM_AUTORELOAD_PRELOAD_DISABLE;
  if (HAL_TIM_Base_Init(&htim1) != HAL_OK)
  {
    Error_Handler();
  }
  sClockSourceConfig.ClockSource = TIM_CLOCKSOURCE_INTERNAL;
  if (HAL_TIM_ConfigClockSource(&htim1, &sClockSourceConfig) != HAL_OK)
  {
    Error_Handler();
  }
  sMasterConfig.MasterOutputTrigger = TIM_TRGO_RESET;
  sMasterConfig.MasterSlaveMode = TIM_MASTERSLAVEMODE_DISABLE;
  if (HAL_TIMEx_MasterConfigSynchronization(&htim1, &sMasterConfig) != HAL_OK)
  {
    Error_Handler();
  }

}

static void MX_TIM2_Init(void)
{

  TIM_ClockConfigTypeDef sClockSourceConfig = {0};
  TIM_MasterConfigTypeDef sMasterConfig = {0};

  htim2.Instance = TIM2;
  htim2.Init.Prescaler = 7199;
  htim2.Init.CounterMode = TIM_COUNTERMODE_UP;
  htim2.Init.Period = 19;
  htim2.Init.ClockDivision = TIM_CLOCKDIVISION_DIV1;
  htim2.Init.AutoReloadPreload = TIM_AUTORELOAD_PRELOAD_DISABLE;
  if (HAL_TIM_Base_Init(&htim2) != HAL_OK)
  {
    Error_Handler();
  }
  sClockSourceConfig.ClockSource = TIM_CLOCKSOURCE_INTERNAL;
  if (HAL_TIM_ConfigClockSource(&htim2, &sClockSourceConfig) != HAL_OK)
  {
    Error_Handler();
  }
  sMasterConfig.MasterOutputTrigger = TIM_TRGO_RESET;
  sMasterConfig.MasterSlaveMode = TIM_MASTERSLAVEMODE_DISABLE;
  if (HAL_TIMEx_MasterConfigSynchronization(&htim2, &sMasterConfig) != HAL_OK)
  {
    Error_Handler();
  }

}

static void MX_USART2_UART_Init(void)
{

  huart2.Instance = USART2;
  huart2.Init.BaudRate = 115200;
  huart2.Init.WordLength = UART_WORDLENGTH_8B;
  huart2.Init.StopBits = UART_STOPBITS_1;
  huart2.Init.Parity = UART_PARITY_NONE;
  huart2.Init.Mode = UART_MODE_TX_RX;
  huart2.Init.HwFlowCtl = UART_HWCONTROL_NONE;
  huart2.Init.OverSampling = UART_OVERSAMPLING_16;
  if (HAL_UART_Init(&huart2) != HAL_OK)
  {
    Error_Handler();
  }

}

static void MX_GPIO_Init(void)
{
  GPIO_InitTypeDef GPIO_InitStruct = {0};

  /* GPIO Ports Clock Enable */
  __HAL_RCC_GPIOC_CLK_ENABLE();
  __HAL_RCC_GPIOD_CLK_ENABLE();
  __HAL_RCC_GPIOA_CLK_ENABLE();
  __HAL_RCC_GPIOB_CLK_ENABLE();

  /*Configure GPIO pin Output Level */
  HAL_GPIO_WritePin(MUX_SEL_GPIO_Port, MUX_SEL_Pin, GPIO_PIN_RESET);

  /*Configure GPIO pin Output Level */
  HAL_GPIO_WritePin(GPIOA, Sv_kont_p_Pin|OE_RELE_Pin, GPIO_PIN_RESET);

  /*Configure GPIO pin Output Level */
  HAL_GPIO_WritePin(GPIOB, Break_K_p_Pin|PCF_INT_Pin, GPIO_PIN_RESET);

  /*Configure GPIO pin Output Level */
  HAL_GPIO_WritePin(GPIOB, Rele_1_Pin|Rele_5_Pin|DISP_LIGHT_BUF_Pin|PWR_KTV_BUF_Pin
                          |ON_3_3V_Pin, GPIO_PIN_SET);

  /*Configure GPIO pin Output Level */
  HAL_GPIO_WritePin(GPIOA, Rele_2_Pin|Rele_3_Pin|Rele_4_Pin, GPIO_PIN_SET);

  /*Configure GPIO pin : MUX_SEL_Pin */
  GPIO_InitStruct.Pin = MUX_SEL_Pin;
  GPIO_InitStruct.Mode = GPIO_MODE_OUTPUT_PP;
  GPIO_InitStruct.Pull = GPIO_NOPULL;
  GPIO_InitStruct.Speed = GPIO_SPEED_FREQ_LOW;
  HAL_GPIO_Init(MUX_SEL_GPIO_Port, &GPIO_InitStruct);

  /*Configure GPIO pin : DOOR_Pin */
  GPIO_InitStruct.Pin = DOOR_Pin;
  GPIO_InitStruct.Mode = GPIO_MODE_IT_RISING_FALLING;
  GPIO_InitStruct.Pull = GPIO_NOPULL;
  HAL_GPIO_Init(DOOR_GPIO_Port, &GPIO_InitStruct);

  /*Configure GPIO pins : Optron1_2_Pin Optron1_1_Pin KTV_ADR_Pin */
  GPIO_InitStruct.Pin = Optron1_2_Pin|Optron1_1_Pin|KTV_ADR_Pin;
  GPIO_InitStruct.Mode = GPIO_MODE_INPUT;
  GPIO_InitStruct.Pull = GPIO_NOPULL;
  HAL_GPIO_Init(GPIOA, &GPIO_InitStruct);

  /*Configure GPIO pins : Sv_kont_p_Pin OE_RELE_Pin */
  GPIO_InitStruct.Pin = Sv_kont_p_Pin|OE_RELE_Pin;
  GPIO_InitStruct.Mode = GPIO_MODE_OUTPUT_PP;
  GPIO_InitStruct.Pull = GPIO_PULLUP;
  GPIO_InitStruct.Speed = GPIO_SPEED_FREQ_LOW;
  HAL_GPIO_Init(GPIOA, &GPIO_InitStruct);

  /*Configure GPIO pins : On_BKK_k1_Pin On_BKK_k2_Pin error_sv_Pin SD_SW_Pin */
  GPIO_InitStruct.Pin = On_BKK_k1_Pin|On_BKK_k2_Pin|error_sv_Pin|SD_SW_Pin;
  GPIO_InitStruct.Mode = GPIO_MODE_IT_RISING_FALLING;
  GPIO_InitStruct.Pull = GPIO_NOPULL;
  HAL_GPIO_Init(GPIOB, &GPIO_InitStruct);

  /*Configure GPIO pin : Break_K_p_Pin */
  GPIO_InitStruct.Pin = Break_K_p_Pin;
  GPIO_InitStruct.Mode = GPIO_MODE_OUTPUT_PP;
  GPIO_InitStruct.Pull = GPIO_PULLUP;
  GPIO_InitStruct.Speed = GPIO_SPEED_FREQ_LOW;
  HAL_GPIO_Init(Break_K_p_GPIO_Port, &GPIO_InitStruct);

  /*Configure GPIO pins : Optron2_2_Pin Optron2_1_Pin */
  GPIO_InitStruct.Pin = Optron2_2_Pin|Optron2_1_Pin;
  GPIO_InitStruct.Mode = GPIO_MODE_INPUT;
  GPIO_InitStruct.Pull = GPIO_NOPULL;
  HAL_GPIO_Init(GPIOB, &GPIO_InitStruct);

  /*Configure GPIO pins : Rele_1_Pin Rele_5_Pin DISP_LIGHT_BUF_Pin PWR_KTV_BUF_Pin
                           ON_3_3V_Pin */
  GPIO_InitStruct.Pin = Rele_1_Pin|Rele_5_Pin|DISP_LIGHT_BUF_Pin|PWR_KTV_BUF_Pin
                          |ON_3_3V_Pin;
  GPIO_InitStruct.Mode = GPIO_MODE_OUTPUT_PP;
  GPIO_InitStruct.Pull = GPIO_PULLDOWN;
  GPIO_InitStruct.Speed = GPIO_SPEED_FREQ_LOW;
  HAL_GPIO_Init(GPIOB, &GPIO_InitStruct);

  /*Configure GPIO pins : Rele_2_Pin Rele_3_Pin Rele_4_Pin */
  GPIO_InitStruct.Pin = Rele_2_Pin|Rele_3_Pin|Rele_4_Pin;
  GPIO_InitStruct.Mode = GPIO_MODE_OUTPUT_PP;
  GPIO_InitStruct.Pull = GPIO_PULLDOWN;
  GPIO_InitStruct.Speed = GPIO_SPEED_FREQ_LOW;
  HAL_GPIO_Init(GPIOA, &GPIO_InitStruct);

  /*Configure GPIO pin : PCF_INT_Pin */
  GPIO_InitStruct.Pin = PCF_INT_Pin;
  GPIO_InitStruct.Mode = GPIO_MODE_OUTPUT_PP;
  GPIO_InitStruct.Pull = GPIO_NOPULL;
  GPIO_InitStruct.Speed = GPIO_SPEED_FREQ_LOW;
  HAL_GPIO_Init(PCF_INT_GPIO_Port, &GPIO_InitStruct);

  /* EXTI interrupt init*/
  HAL_NVIC_SetPriority(EXTI0_IRQn, 0, 0);
  HAL_NVIC_EnableIRQ(EXTI0_IRQn);

  HAL_NVIC_SetPriority(EXTI1_IRQn, 0, 0);
  HAL_NVIC_EnableIRQ(EXTI1_IRQn);

  HAL_NVIC_SetPriority(EXTI9_5_IRQn, 0, 0);
  HAL_NVIC_EnableIRQ(EXTI9_5_IRQn);

  HAL_NVIC_SetPriority(EXTI15_10_IRQn, 0, 0);
  HAL_NVIC_EnableIRQ(EXTI15_10_IRQn);

  /* USER CODE BEGIN MX_GPIO_Init_2 */
  on_bkk_k1 = HAL_GPIO_ReadPin(On_BKK_k1_GPIO_Port, On_BKK_k1_Pin);
  on_bkk_k2 = HAL_GPIO_ReadPin(On_BKK_k2_GPIO_Port, On_BKK_k2_Pin);
  error_sv  = HAL_GPIO_ReadPin(error_sv_GPIO_Port, error_sv_Pin);
  door      = HAL_GPIO_ReadPin(DOOR_GPIO_Port, DOOR_Pin);
  /* USER CODE END MX_GPIO_Init_2 */
}

/* USER CODE BEGIN 4 */

void HAL_TIM_PeriodElapsedCallback(TIM_HandleTypeDef *htim)
{
  static uint8_t on3_3_ones = 0U;

  if (htim->Instance == TIM2)
  {
    if (!on3_3_ones)
    {
      if (on_3v3_enabled == 0U)
      {
        tim2_tick_count++;
        if (tim2_tick_count >= ON_3V3_ENABLE_DELAY_TICKS)
        {
          on_3v3_enabled = 1U;
          HAL_GPIO_WritePin(ON_3_3V_GPIO_Port, ON_3_3V_Pin, GPIO_PIN_SET);
          on3_3_ones = 1;
        }
      }
    }
    Ktv_TickISR();
  }
  else if (htim->Instance == TIM1)
  {
    uint8_t sample = 0U;

    /* Снимаем состояние оптронов каждые 1 мс в кольцевой буфер. */
    if (HAL_GPIO_ReadPin(Optron1_1_GPIO_Port, Optron1_1_Pin) == GPIO_PIN_SET)
    {
      sample |= OPTRON_SAMPLE_1_1;
    }
    if (HAL_GPIO_ReadPin(Optron1_2_GPIO_Port, Optron1_2_Pin) == GPIO_PIN_SET)
    {
      sample |= OPTRON_SAMPLE_1_2;
    }
    if (HAL_GPIO_ReadPin(Optron2_1_GPIO_Port, Optron2_1_Pin) == GPIO_PIN_SET)
    {
      sample |= OPTRON_SAMPLE_2_1;
    }
    if (HAL_GPIO_ReadPin(Optron2_2_GPIO_Port, Optron2_2_Pin) == GPIO_PIN_SET)
    {
      sample |= OPTRON_SAMPLE_2_2;
    }

    /* Окно сбора 250 мс, далее 750 мс пауза до следующего цикла. */
    if (optron_cycle_tick < OPTRON_FRAME_SAMPLES)
    {
      optron_samples[optron_sample_index] = sample;
      optron_sample_index++;
      if (optron_sample_index >= OPTRON_FRAME_SAMPLES)
      {
        optron_sample_index = 0U;
      }

      /* По окончании окна разрешаем анализ буфера. */
      if (optron_cycle_tick == (OPTRON_FRAME_SAMPLES - 1U))
      {
        optron_eval_pending = 1U;
      }
    }

    /* Полный цикл 1 секунда: окно 250 мс + пауза 750 мс. */
    optron_cycle_tick++;
    if (optron_cycle_tick >= OPTRON_EVAL_TICKS)
    {
      optron_cycle_tick = 0U;
    }
  }
}

void HAL_I2C_AddrCallback(I2C_HandleTypeDef *hi2c, uint8_t TransferDirection, uint16_t AddrMatchCode)
{
  if (hi2c->Instance != I2C1)
  {
    return;
  }

  active_i2c_address = (uint8_t)AddrMatchCode;

  if (active_i2c_address == I2C_EXPANDER16_ADDR)
  {
    ClearPcfIntLatch();
  }

  if (TransferDirection == I2C_DIRECTION_RECEIVE)
  {
    PrepareExpanderTx(active_i2c_address);
    if (active_i2c_address == I2C_EXPANDER16_ADDR)
    {
      HAL_I2C_Slave_Seq_Transmit_IT(hi2c, i2c_tx_buffer, I2C_EXPANDER16_RX_SIZE, I2C_FIRST_AND_LAST_FRAME);
    }
    else if (active_i2c_address == I2C_EXPANDER8_ADDR)
    {
      HAL_I2C_Slave_Seq_Transmit_IT(hi2c, i2c_tx_buffer, I2C_EXPANDER8_RX_SIZE, I2C_FIRST_AND_LAST_FRAME);
    }
    else
    {
      HAL_I2C_EnableListen_IT(hi2c);
    }
  }
  else
  {
    if (active_i2c_address == I2C_EXPANDER16_ADDR)
    {
      active_rx_size = I2C_EXPANDER16_RX_SIZE;
      HAL_I2C_Slave_Seq_Receive_IT(hi2c, i2c_rx_buffer, active_rx_size, I2C_FIRST_AND_LAST_FRAME);
    }
    else if (active_i2c_address == I2C_EXPANDER8_ADDR)
    {
      active_rx_size = I2C_EXPANDER8_RX_SIZE;
      HAL_I2C_Slave_Seq_Receive_IT(hi2c, i2c_rx_buffer, active_rx_size, I2C_FIRST_AND_LAST_FRAME);
    }
    else
    {
      HAL_I2C_EnableListen_IT(hi2c);
    }
  }
}

void HAL_I2C_SlaveRxCpltCallback(I2C_HandleTypeDef *hi2c)
{
  if (hi2c->Instance != I2C1)
  {
    return;
  }

  if (active_i2c_address == I2C_EXPANDER16_ADDR)
  {
    uint16_t value = i2c_rx_buffer[0];
    if (active_rx_size > 1U)
    {
      value |= (uint16_t)(i2c_rx_buffer[1] << 8);
    }
    ApplyExpander16State(value);
  }
  else if (active_i2c_address == I2C_EXPANDER8_ADDR)
  {
    ApplyExpander8State(i2c_rx_buffer[0]);
  }

  HAL_I2C_EnableListen_IT(hi2c);
}

void HAL_I2C_ListenCpltCallback(I2C_HandleTypeDef *hi2c)
{
  if (hi2c->Instance == I2C1)
  {
    HAL_I2C_EnableListen_IT(hi2c);
  }
}

void HAL_I2C_ErrorCallback(I2C_HandleTypeDef *hi2c)
{
  if (hi2c->Instance == I2C1)
  {
    HAL_I2C_EnableListen_IT(hi2c);
  }
}

void HAL_GPIO_EXTI_Callback(uint16_t GPIO_Pin)
{
  if (GPIO_Pin == DOOR_Pin)
  {
    door = HAL_GPIO_ReadPin(DOOR_GPIO_Port, DOOR_Pin);
    return;
  }

  if (GPIO_Pin == error_sv_Pin)
  {
    error_sv = HAL_GPIO_ReadPin(error_sv_GPIO_Port, error_sv_Pin);
    return;
  }

  if (GPIO_Pin == On_BKK_k1_Pin)
  {
    on_bkk_k1 = HAL_GPIO_ReadPin(On_BKK_k1_GPIO_Port, On_BKK_k1_Pin);
    return;
  }

  if (GPIO_Pin == On_BKK_k2_Pin)
  {
    on_bkk_k2 = HAL_GPIO_ReadPin(On_BKK_k2_GPIO_Port, On_BKK_k2_Pin);
    return;
  }

  if (GPIO_Pin != SD_SW_Pin)
  {
    return;
  }

  GPIO_PinState current_state = HAL_GPIO_ReadPin(SD_SW_GPIO_Port, SD_SW_Pin);
  if (current_state == sd_sw_last_state)
  {
    return;
  }

  if (pcf_int_latched == 0U)
  {
    sd_sw_return_state = sd_sw_last_state;
    pcf_int_latched = 1U;
    SetPcfIntLevel(GPIO_PIN_RESET);
  }
  else if (current_state == sd_sw_return_state)
  {
    pcf_int_latched = 0U;
    SetPcfIntLevel(GPIO_PIN_SET);
  }

  sd_sw_last_state = current_state;
}

/* Отключение линии EXTI и очистка pending-бита. */
static inline void EXTI_DisableLine(uint16_t pinmask)
{
  EXTI->IMR &= ~pinmask;   // запретить прерывание по линии
  EXTI->PR   =  pinmask;   // сбросить pending, чтобы не прилетело сразу после enable
}

/* Включение линии EXTI и очистка pending-бита. */
static inline void EXTI_EnableLine(uint16_t pinmask)
{
  EXTI->PR   =  pinmask;   // сбросить pending
  EXTI->IMR |=  pinmask;   // разрешить прерывания
}

/* USER CODE END 4 */

void Error_Handler(void)
{
  __disable_irq();
  while (1)
  {
  }
}
